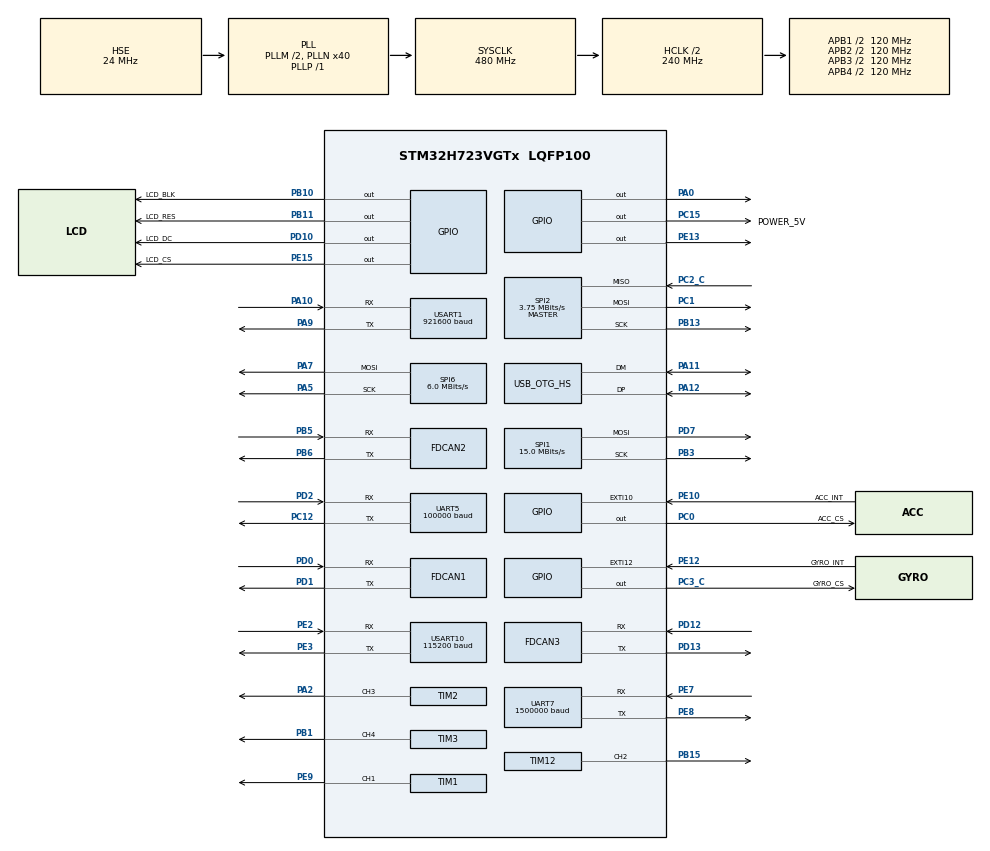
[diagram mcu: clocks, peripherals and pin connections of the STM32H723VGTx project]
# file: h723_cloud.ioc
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CORTEX_M7.default_mode_Activation=0
Dma.Request0=SPI2_RX
Dma.Request1=SPI2_TX
Dma.Request2=UART5_RX
Dma.Request3=USART10_TX
Dma.Request4=USART1_RX
Dma.Request5=UART7_RX
Dma.Request6=USART1_TX
Dma.SPI2_RX.0.Direction=DMA_PERIPH_TO_MEMORY
Dma.SPI2_RX.0.EventEnable=DISABLE
Dma.SPI2_RX.0.FIFOMode=DMA_FIFOMODE_DISABLE
Dma.SPI2_RX.0.Instance=DMA1_Stream2
Dma.SPI2_RX.0.MemDataAlignment=DMA_MDATAALIGN_BYTE
Dma.SPI2_RX.0.MemInc=DMA_MINC_ENABLE
Dma.SPI2_RX.0.Mode=DMA_NORMAL
Dma.SPI2_RX.0.PeriphDataAlignment=DMA_PDATAALIGN_BYTE
Dma.SPI2_RX.0.PeriphInc=DMA_PINC_DISABLE
Dma.SPI2_RX.0.Polarity=HAL_DMAMUX_REQ_GEN_RISING
Dma.SPI2_RX.0.Priority=DMA_PRIORITY_VERY_HIGH
Dma.SPI2_RX.0.RequestNumber=1
Dma.SPI2_RX.0.SignalID=NONE
Dma.SPI2_RX.0.SyncEnable=DISABLE
Dma.SPI2_RX.0.SyncPolarity=HAL_DMAMUX_SYNC_NO_EVENT
Dma.SPI2_RX.0.SyncRequestNumber=1
Dma.SPI2_RX.0.SyncSignalID=NONE
Dma.SPI2_TX.1.Direction=DMA_MEMORY_TO_PERIPH
Dma.SPI2_TX.1.EventEnable=DISABLE
Dma.SPI2_TX.1.FIFOMode=DMA_FIFOMODE_DISABLE
Dma.SPI2_TX.1.Instance=DMA1_Stream0
Dma.SPI2_TX.1.MemDataAlignment=DMA_MDATAALIGN_BYTE
Dma.SPI2_TX.1.MemInc=DMA_MINC_ENABLE
Dma.SPI2_TX.1.Mode=DMA_NORMAL
Dma.SPI2_TX.1.PeriphDataAlignment=DMA_PDATAALIGN_BYTE
Dma.SPI2_TX.1.PeriphInc=DMA_PINC_DISABLE
Dma.SPI2_TX.1.Polarity=HAL_DMAMUX_REQ_GEN_RISING
Dma.SPI2_TX.1.Priority=DMA_PRIORITY_HIGH
Dma.SPI2_TX.1.RequestNumber=1
Dma.SPI2_TX.1.SignalID=NONE
Dma.SPI2_TX.1.SyncEnable=DISABLE
Dma.SPI2_TX.1.SyncPolarity=HAL_DMAMUX_SYNC_NO_EVENT
Dma.SPI2_TX.1.SyncRequestNumber=1
Dma.SPI2_TX.1.SyncSignalID=NONE
Dma.UART5_RX.2.Direction=DMA_PERIPH_TO_MEMORY
Dma.UART5_RX.2.EventEnable=DISABLE
Dma.UART5_RX.2.FIFOMode=DMA_FIFOMODE_DISABLE
Dma.UART5_RX.2.Instance=DMA1_Stream1
Dma.UART5_RX.2.MemDataAlignment=DMA_MDATAALIGN_BYTE
Dma.UART5_RX.2.MemInc=DMA_MINC_ENABLE
Dma.UART5_RX.2.Mode=DMA_CIRCULAR
Dma.UART5_RX.2.PeriphDataAlignment=DMA_PDATAALIGN_BYTE
Dma.UART5_RX.2.PeriphInc=DMA_PINC_DISABLE
Dma.UART5_RX.2.Polarity=HAL_DMAMUX_REQ_GEN_RISING
Dma.UART5_RX.2.Priority=DMA_PRIORITY_VERY_HIGH
Dma.UART5_RX.2.RequestNumber=1
Dma.UART5_RX.2.SignalID=NONE
Dma.UART5_RX.2.SyncEnable=DISABLE
Dma.UART5_RX.2.SyncPolarity=HAL_DMAMUX_SYNC_NO_EVENT
Dma.UART5_RX.2.SyncRequestNumber=1
Dma.UART5_RX.2.SyncSignalID=NONE
Dma.UART7_RX.5.Direction=DMA_PERIPH_TO_MEMORY
Dma.UART7_RX.5.EventEnable=DISABLE
Dma.UART7_RX.5.FIFOMode=DMA_FIFOMODE_DISABLE
Dma.UART7_RX.5.Instance=DMA1_Stream5
Dma.UART7_RX.5.MemDataAlignment=DMA_MDATAALIGN_BYTE
Dma.UART7_RX.5.MemInc=DMA_MINC_ENABLE
Dma.UART7_RX.5.Mode=DMA_CIRCULAR
Dma.UART7_RX.5.PeriphDataAlignment=DMA_PDATAALIGN_BYTE
Dma.UART7_RX.5.PeriphInc=DMA_PINC_DISABLE
Dma.UART7_RX.5.Polarity=HAL_DMAMUX_REQ_GEN_RISING
Dma.UART7_RX.5.Priority=DMA_PRIORITY_VERY_HIGH
Dma.UART7_RX.5.RequestNumber=1
Dma.UART7_RX.5.SignalID=NONE
Dma.UART7_RX.5.SyncEnable=DISABLE
Dma.UART7_RX.5.SyncPolarity=HAL_DMAMUX_SYNC_NO_EVENT
Dma.UART7_RX.5.SyncRequestNumber=1
Dma.UART7_RX.5.SyncSignalID=NONE
Dma.USART10_TX.3.Direction=DMA_MEMORY_TO_PERIPH
Dma.USART10_TX.3.EventEnable=DISABLE
Dma.USART10_TX.3.FIFOMode=DMA_FIFOMODE_DISABLE
Dma.USART10_TX.3.Instance=DMA1_Stream3
Dma.USART10_TX.3.MemDataAlignment=DMA_MDATAALIGN_BYTE
Dma.USART10_TX.3.MemInc=DMA_MINC_ENABLE
Dma.USART10_TX.3.Mode=DMA_NORMAL
Dma.USART10_TX.3.PeriphDataAlignment=DMA_PDATAALIGN_BYTE
Dma.USART10_TX.3.PeriphInc=DMA_PINC_DISABLE
Dma.USART10_TX.3.Polarity=HAL_DMAMUX_REQ_GEN_RISING
Dma.USART10_TX.3.Priority=DMA_PRIORITY_LOW
Dma.USART10_TX.3.RequestNumber=1
Dma.USART10_TX.3.SignalID=NONE
Dma.USART10_TX.3.SyncEnable=DISABLE
Dma.USART10_TX.3.SyncPolarity=HAL_DMAMUX_SYNC_NO_EVENT
Dma.USART10_TX.3.SyncRequestNumber=1
Dma.USART10_TX.3.SyncSignalID=NONE
Dma.USART1_RX.4.Direction=DMA_PERIPH_TO_MEMORY
Dma.USART1_RX.4.EventEnable=DISABLE
Dma.USART1_RX.4.FIFOMode=DMA_FIFOMODE_DISABLE
Dma.USART1_RX.4.Instance=DMA1_Stream4
Dma.USART1_RX.4.MemDataAlignment=DMA_MDATAALIGN_BYTE
Dma.USART1_RX.4.MemInc=DMA_MINC_ENABLE
Dma.USART1_RX.4.Mode=DMA_CIRCULAR
Dma.USART1_RX.4.PeriphDataAlignment=DMA_PDATAALIGN_BYTE
Dma.USART1_RX.4.PeriphInc=DMA_PINC_DISABLE
Dma.USART1_RX.4.Polarity=HAL_DMAMUX_REQ_GEN_RISING
Dma.USART1_RX.4.Priority=DMA_PRIORITY_VERY_HIGH
Dma.USART1_RX.4.RequestNumber=1
Dma.USART1_RX.4.SignalID=NONE
Dma.USART1_RX.4.SyncEnable=DISABLE
Dma.USART1_RX.4.SyncPolarity=HAL_DMAMUX_SYNC_NO_EVENT
Dma.USART1_RX.4.SyncRequestNumber=1
Dma.USART1_RX.4.SyncSignalID=NONE
Dma.USART1_TX.6.Direction=DMA_MEMORY_TO_PERIPH
Dma.USART1_TX.6.EventEnable=DISABLE
Dma.USART1_TX.6.FIFOMode=DMA_FIFOMODE_DISABLE
Dma.USART1_TX.6.Instance=DMA1_Stream6
Dma.USART1_TX.6.MemDataAlignment=DMA_MDATAALIGN_BYTE
Dma.USART1_TX.6.MemInc=DMA_MINC_ENABLE
Dma.USART1_TX.6.Mode=DMA_NORMAL
Dma.USART1_TX.6.PeriphDataAlignment=DMA_PDATAALIGN_BYTE
Dma.USART1_TX.6.PeriphInc=DMA_PINC_DISABLE
Dma.USART1_TX.6.Polarity=HAL_DMAMUX_REQ_GEN_RISING
Dma.USART1_TX.6.Priority=DMA_PRIORITY_MEDIUM
Dma.USART1_TX.6.RequestNumber=1
Dma.USART1_TX.6.SignalID=NONE
Dma.USART1_TX.6.SyncEnable=DISABLE
Dma.USART1_TX.6.SyncPolarity=HAL_DMAMUX_SYNC_NO_EVENT
Dma.USART1_TX.6.SyncRequestNumber=1
Dma.USART1_TX.6.SyncSignalID=NONE
FDCAN1.AutoRetransmission=ENABLE
FDCAN1.CalculateBaudRateNominal=999999
FDCAN1.CalculateTimeBitNominal=1000
FDCAN1.CalculateTimeQuantumNominal=83.33333333333334
FDCAN1.NominalPrescaler=10
FDCAN1.NominalTimeSeg1=8
FDCAN1.NominalTimeSeg2=3
FDCAN1.RxFifo0ElmtsNbr=32
FDCAN1.StdFiltersNbr=1
FDCAN1.TxFifoQueueElmtsNbr=32
FDCAN1.TxFifoQueueMode=FDCAN_TX_FIFO_OPERATION
FDCAN2.CalculateBaudRateNominal=999999
FDCAN2.CalculateTimeBitNominal=1000
FDCAN2.CalculateTimeQuantumNominal=83.33333333333334
FDCAN2.MessageRAMOffset=1024
FDCAN2.NominalPrescaler=10
FDCAN2.NominalTimeSeg1=8
FDCAN2.NominalTimeSeg2=3
FDCAN2.RxFifo0ElmtsNbr=32
FDCAN2.StdFiltersNbr=1
FDCAN2.TxFifoQueueElmtsNbr=32
FDCAN3.CalculateBaudRateNominal=999999
FDCAN3.CalculateTimeBitNominal=1000
FDCAN3.CalculateTimeQuantumNominal=83.33333333333334
FDCAN3.MessageRAMOffset=2048
FDCAN3.NominalPrescaler=10
FDCAN3.NominalTimeSeg1=8
FDCAN3.NominalTimeSeg2=3
FDCAN3.RxFifo0ElmtsNbr=32
FDCAN3.StdFiltersNbr=1
FDCAN3.TxFifoQueueElmtsNbr=32
FREERTOS.BinarySemaphores01=imuBinarySem01,Static,imuBinarySemControlBlock
FREERTOS.INCLUDE_eTaskGetState=1
FREERTOS.INCLUDE_pcTaskGetTaskName=1
FREERTOS.INCLUDE_uxTaskGetStackHighWaterMark=1
FREERTOS.INCLUDE_uxTaskGetStackHighWaterMark2=0
FREERTOS.INCLUDE_vTaskCleanUpResources=1
FREERTOS.INCLUDE_vTaskDelayUntil=1
FREERTOS.INCLUDE_xEventGroupSetBitFromISR=1
FREERTOS.INCLUDE_xQueueGetMutexHolder=1
FREERTOS.INCLUDE_xSemaphoreGetMutexHolder=1
FREERTOS.INCLUDE_xTaskAbortDelay=1
FREERTOS.INCLUDE_xTaskGetCurrentTaskHandle=1
FREERTOS.INCLUDE_xTaskGetHandle=1
FREERTOS.INCLUDE_xTimerPendFunctionCall=1
FREERTOS.MEMORY_ALLOCATION=2
FREERTOS.Queues01=rcQueue,1,36,1,Dynamic,NULL,NULL;canRxQueue,20,12,1,Dynamic,NULL,NULL
FREERTOS.Tasks01=All_Init,47,256,All_Init_Run,Default,NULL,Dynamic,NULL,NULL;INSTask,48,1024,IMU_task,As external,NULL,Static,IMU_Buffer,IMUControlBlock;CanDecodeTask,32,512,Can_Decode_Task,As external,NULL,Dynamic,NULL,NULL;rcTask,16,256,RC_Task,As weak,NULL,Dynamic,NULL,NULL
FREERTOS.configTOTAL_HEAP_SIZE=49152
FREERTOS.configUSE_TIMERS=1
Mcu.Family=STM32H7
Mcu.Name=STM32H723VGTx
Mcu.Package=LQFP100
NVIC.DMA1_Stream0_IRQn=true\:5\:0\:true\:false\:true\:true\:false\:true\:true
NVIC.DMA1_Stream1_IRQn=true\:5\:0\:true\:false\:true\:true\:false\:true\:true
NVIC.DMA1_Stream2_IRQn=true\:5\:0\:false\:false\:true\:true\:false\:true\:true
NVIC.DMA1_Stream3_IRQn=true\:15\:0\:true\:false\:true\:true\:false\:true\:true
NVIC.DMA1_Stream4_IRQn=true\:5\:0\:false\:false\:true\:true\:false\:true\:true
NVIC.DMA1_Stream5_IRQn=true\:5\:0\:false\:false\:true\:true\:false\:true\:true
NVIC.DMA1_Stream6_IRQn=true\:5\:0\:false\:false\:true\:true\:false\:true\:true
NVIC.EXTI15_10_IRQn=true\:6\:0\:true\:false\:true\:true\:true\:true\:true
NVIC.FDCAN1_IT0_IRQn=true\:5\:0\:true\:false\:true\:true\:true\:true\:true
NVIC.FDCAN2_IT0_IRQn=true\:5\:0\:true\:false\:true\:true\:true\:true\:true
NVIC.FDCAN3_IT0_IRQn=true\:5\:0\:true\:false\:true\:true\:true\:true\:true
NVIC.OTG_HS_IRQn=true\:5\:0\:true\:false\:true\:true\:true\:true\:true
NVIC.PriorityGroup=NVIC_PRIORITYGROUP_4
NVIC.SPI2_IRQn=true\:5\:0\:false\:false\:true\:true\:false\:true\:true
NVIC.TIM6_DAC_IRQn=true\:15\:0\:false\:false\:true\:false\:false\:true\:true
NVIC.TimeBase=TIM6_DAC_IRQn
NVIC.TimeBaseIP=TIM6
NVIC.UART5_IRQn=true\:5\:0\:false\:false\:true\:true\:true\:true\:true
NVIC.USART10_IRQn=true\:15\:0\:true\:false\:true\:true\:true\:true\:true
NVIC.USART1_IRQn=true\:5\:0\:false\:false\:true\:true\:true\:true\:true
PA0.GPIO_Speed=GPIO_SPEED_FREQ_VERY_HIGH
PA0.Signal=GPIO_Output
PA10.GPIO_Speed=GPIO_SPEED_FREQ_VERY_HIGH
PA10.Mode=Asynchronous
PA10.Signal=USART1_RX
PA11.Mode=Device_Only_FS
PA11.Signal=USB_OTG_HS_DM
PA12.Mode=Device_Only_FS
PA12.Signal=USB_OTG_HS_DP
PA13(JTMS/SWDIO).Mode=Serial_Wire
PA13(JTMS/SWDIO).Signal=DEBUG_JTMS-SWDIO
PA14(JTCK/SWCLK).Mode=Serial_Wire
PA14(JTCK/SWCLK).Signal=DEBUG_JTCK-SWCLK
PA2.GPIO_Speed=GPIO_SPEED_FREQ_VERY_HIGH
PA2.Signal=S_TIM2_CH3
PA5.Mode=TX_Only_Simplex_Unidirect_Master
PA5.Signal=SPI6_SCK
PA7.Mode=TX_Only_Simplex_Unidirect_Master
PA7.Signal=SPI6_MOSI
PA9.GPIO_Speed=GPIO_SPEED_FREQ_VERY_HIGH
PA9.Mode=Asynchronous
PA9.Signal=USART1_TX
PB1.Signal=S_TIM3_CH4
PB10.GPIO_Label=LCD_BLK
PB10.Signal=GPIO_Output
PB11.GPIO_Label=LCD_RES
PB11.Signal=GPIO_Output
PB13.GPIO_Speed=GPIO_SPEED_FREQ_VERY_HIGH
PB13.Mode=Full_Duplex_Master
PB13.Signal=SPI2_SCK
PB15.Signal=S_TIM12_CH2
PB3(JTDO/TRACESWO).Mode=TX_Only_Simplex_Unidirect_Master
PB3(JTDO/TRACESWO).Signal=SPI1_SCK
PB5.GPIO_Speed=GPIO_SPEED_FREQ_VERY_HIGH
PB5.Mode=FDCAN_Activate
PB5.Signal=FDCAN2_RX
PB6.GPIO_Speed=GPIO_SPEED_FREQ_VERY_HIGH
PB6.Mode=FDCAN_Activate
PB6.Signal=FDCAN2_TX
PC0.GPIO_Label=ACC_CS
PC0.GPIO_Speed=GPIO_SPEED_FREQ_VERY_HIGH
PC0.PinState=GPIO_PIN_SET
PC0.Signal=GPIO_Output
PC1.GPIO_Speed=GPIO_SPEED_FREQ_VERY_HIGH
PC1.Mode=Full_Duplex_Master
PC1.Signal=SPI2_MOSI
PC12.Mode=Asynchronous
PC12.Signal=UART5_TX
PC15-OSC32_OUT.GPIO_Label=POWER_5V
PC15-OSC32_OUT.PinState=GPIO_PIN_SET
PC15-OSC32_OUT.Signal=GPIO_Output
PC2_C.GPIO_Speed=GPIO_SPEED_FREQ_VERY_HIGH
PC2_C.Mode=Full_Duplex_Master
PC2_C.Signal=SPI2_MISO
PC3_C.GPIO_Label=GYRO_CS
PC3_C.GPIO_Speed=GPIO_SPEED_FREQ_VERY_HIGH
PC3_C.PinState=GPIO_PIN_SET
PC3_C.Signal=GPIO_Output
PD0.GPIO_Speed=GPIO_SPEED_FREQ_VERY_HIGH
PD0.Mode=FDCAN_Activate
PD0.Signal=FDCAN1_RX
PD1.GPIO_Speed=GPIO_SPEED_FREQ_VERY_HIGH
PD1.Mode=FDCAN_Activate
PD1.Signal=FDCAN1_TX
PD10.GPIO_Label=LCD_DC
PD10.Signal=GPIO_Output
PD12.GPIO_Speed=GPIO_SPEED_FREQ_VERY_HIGH
PD12.Mode=FDCAN_Activate
PD12.Signal=FDCAN3_RX
PD13.GPIO_Speed=GPIO_SPEED_FREQ_VERY_HIGH
PD13.Mode=FDCAN_Activate
PD13.Signal=FDCAN3_TX
PD2.Mode=Asynchronous
PD2.Signal=UART5_RX
PD7.Mode=TX_Only_Simplex_Unidirect_Master
PD7.Signal=SPI1_MOSI
PE10.GPIO_Label=ACC_INT
PE10.Signal=GPXTI10
PE12.GPIO_Label=GYRO_INT
PE12.Signal=GPXTI12
PE13.GPIO_PuPd=GPIO_PULLUP
PE13.Signal=GPIO_Output
PE15.GPIO_Label=LCD_CS
PE15.Signal=GPIO_Output
PE2.GPIO_Speed=GPIO_SPEED_FREQ_VERY_HIGH
PE2.Mode=Asynchronous
PE2.Signal=USART10_RX
PE3.GPIO_Speed=GPIO_SPEED_FREQ_VERY_HIGH
PE3.Mode=Asynchronous
PE3.Signal=USART10_TX
PE7.GPIO_Speed=GPIO_SPEED_FREQ_VERY_HIGH
PE7.Mode=Asynchronous
PE7.Signal=UART7_RX
PE8.GPIO_Speed=GPIO_SPEED_FREQ_VERY_HIGH
PE8.Mode=Asynchronous
PE8.Signal=UART7_TX
PE9.GPIO_Speed=GPIO_SPEED_FREQ_VERY_HIGH
PE9.Signal=S_TIM1_CH1
PH0-OSC_IN.Mode=HSE-External-Oscillator
PH0-OSC_IN.Signal=RCC_OSC_IN
PH1-OSC_OUT.Mode=HSE-External-Oscillator
PH1-OSC_OUT.Signal=RCC_OSC_OUT
ProjectManager.HeapSize=0x2000
ProjectManager.StackSize=0x2000
ProjectManager.TargetToolchain=MDK-ARM V5.32
RCC.ADCFreq_Value=48375000
RCC.APB1Freq_Value=120000000
RCC.APB2Freq_Value=120000000
RCC.APB3Freq_Value=120000000
RCC.APB4Freq_Value=120000000
RCC.CortexFreq_Value=480000000
RCC.D1PPRE=RCC_APB3_DIV2
RCC.D2PPRE1=RCC_APB1_DIV2
RCC.D2PPRE2=RCC_APB2_DIV2
RCC.D3PPRE=RCC_APB4_DIV2
RCC.DIVM1=2
RCC.DIVN1=40
RCC.DIVP1=1
RCC.DIVQ1=4
RCC.HCLKFreq_Value=240000000
RCC.HPRE=RCC_HCLK_DIV2
RCC.HSE_VALUE=24000000
RCC.PLLSourceVirtual=RCC_PLLSOURCE_HSE
RCC.SPI6CLockSelection=RCC_SPI6CLKSOURCE_HSE
RCC.SYSCLKFreq_VALUE=480000000
RCC.SYSCLKSource=RCC_SYSCLKSOURCE_PLLCLK
RCC.USBCLockSelection=RCC_USBCLKSOURCE_HSI48
RCC.USBFreq_Value=48000000
SH.S_TIM12_CH2.0=TIM12_CH2,PWM Generation2 CH2
SH.S_TIM1_CH1.0=TIM1_CH1,PWM Generation1 CH1
SH.S_TIM2_CH3.0=TIM2_CH3,PWM Generation3 CH3
SH.S_TIM3_CH4.0=TIM3_CH4,PWM Generation4 CH4
SPI1.BaudRatePrescaler=SPI_BAUDRATEPRESCALER_8
SPI1.CLKPolarity=SPI_POLARITY_HIGH
SPI1.CalculateBaudRate=15.0 MBits/s
SPI1.DataSize=SPI_DATASIZE_8BIT
SPI1.Direction=SPI_DIRECTION_2LINES_TXONLY
SPI1.Mode=SPI_MODE_MASTER
SPI1.VirtualType=VM_MASTER
SPI2.BaudRatePrescaler=SPI_BAUDRATEPRESCALER_32
SPI2.CLKPhase=SPI_PHASE_2EDGE
SPI2.CLKPolarity=SPI_POLARITY_HIGH
SPI2.CalculateBaudRate=3.75 MBits/s
SPI2.DataSize=SPI_DATASIZE_8BIT
SPI2.Direction=SPI_DIRECTION_2LINES
SPI2.Mode=SPI_MODE_MASTER
SPI2.VirtualType=VM_MASTER
SPI6.BaudRatePrescaler=SPI_BAUDRATEPRESCALER_4
SPI6.CLKPhase=SPI_PHASE_2EDGE
SPI6.CalculateBaudRate=6.0 MBits/s
SPI6.DataSize=SPI_DATASIZE_8BIT
SPI6.Direction=SPI_DIRECTION_2LINES_TXONLY
SPI6.Mode=SPI_MODE_MASTER
SPI6.VirtualType=VM_MASTER
TIM1.AutoReloadPreload=TIM_AUTORELOAD_PRELOAD_ENABLE
TIM1.AutomaticOutput=TIM_AUTOMATICOUTPUT_ENABLE
TIM1.Channel-PWM\ Generation1\ CH1=TIM_CHANNEL_1
TIM1.Period=20000-1
TIM1.Prescaler=240-1
TIM1.Pulse-PWM\ Generation1\ CH1=0
TIM12.Channel-PWM\ Generation2\ CH2=TIM_CHANNEL_2
TIM12.Period=2000-1
TIM12.Prescaler=48-1
TIM2.AutoReloadPreload=TIM_AUTORELOAD_PRELOAD_ENABLE
TIM2.Channel-PWM\ Generation3\ CH3=TIM_CHANNEL_3
TIM2.Period=20000-1
TIM2.Prescaler=240-1
TIM2.Pulse-PWM\ Generation3\ CH3=0
TIM3.AutoReloadPreload=TIM_AUTORELOAD_PRELOAD_ENABLE
TIM3.Channel-PWM\ Generation4\ CH4=TIM_CHANNEL_4
TIM3.Period=10000-1
TIM3.Prescaler=24-1
UART5.BaudRate=100000
UART5.Parity=PARITY_EVEN
UART5.StopBits=UART_STOPBITS_2
UART5.WordLength=WORDLENGTH_9B
UART7.BaudRate=1500000
USART1.BaudRate=921600
USART1.VirtualMode-Asynchronous=VM_ASYNC
USART10.BaudRate=115200
USART10.VirtualMode=VM_ASYNC
USB_DEVICE.CLASS_NAME_HS=CDC
USB_DEVICE.VirtualMode=Cdc
USB_DEVICE.VirtualModeHS=Cdc_HS
USB_OTG_HS.VirtualMode-Device_Only_FS=Device_Only_FS
VP_FREERTOS_VS_CMSIS_V2.Mode=CMSIS_V2
VP_RCC_USB.Mode=USB_HS
VP_SYS_VS_tim6.Mode=TIM6
VP_TIM1_VS_ClockSourceINT.Mode=Internal
VP_TIM2_VS_ClockSourceINT.Mode=Internal
VP_USB_DEVICE_VS_USB_DEVICE_CDC_HS.Mode=CDC_HS
board=custom

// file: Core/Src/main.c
/* USER CODE BEGIN Header */
/**
  ******************************************************************************
  * @file           : main.c
  * @brief          : Main program body
  ******************************************************************************
  * @attention
  *
  * Copyright (c) 2024 STMicroelectronics.
  * All rights reserved.
  *
  * This software is licensed under terms that can be found in the LICENSE file
  * in the root directory of this software component.
  * If no LICENSE file comes with this software, it is provided AS-IS.
  *
  ******************************************************************************
  */
/* USER CODE END Header */
#include "main.h"
#include "cmsis_os.h"
#include "dma.h"
#include "fdcan.h"
#include "spi.h"
#include "tim.h"
#include "usart.h"
#include "usb_device.h"
#include "gpio.h"

/* USER CODE BEGIN Includes */
#include "bsp_dwt.h"

/* USER CODE END Includes */

void SystemClock_Config(void);
void MX_FREERTOS_Init(void);

int main(void)
{
  /* USER CODE BEGIN 1 */
    SCB_EnableICache();
    SCB_EnableDCache();
  /* USER CODE END 1 */

  /* MCU Configuration--------------------------------------------------------*/

  /* Reset of all peripherals, Initializes the Flash interface and the Systick. */
  HAL_Init();

  /* Configure the system clock */
  SystemClock_Config();

  /* Initialize all configured peripherals */
  MX_GPIO_Init();
  MX_DMA_Init();
  MX_FDCAN2_Init();
  MX_FDCAN3_Init();
  MX_SPI2_Init();
  MX_FDCAN1_Init();
  MX_TIM3_Init();
  MX_TIM12_Init();
  MX_SPI1_Init();
  MX_UART5_Init();
  MX_USART10_UART_Init();
  MX_SPI6_Init();
  MX_USART1_UART_Init();
  MX_TIM2_Init();
  MX_TIM1_Init();
  MX_UART7_Init();
  /* USER CODE BEGIN 2 */

	DWT_Init();

  /* USER CODE END 2 */

  /* Init scheduler */
  osKernelInitialize();  /* Call init function for freertos objects (in freertos.c) */
  MX_FREERTOS_Init();

  /* Start scheduler */
  osKernelStart();
  /* We should never get here as control is now taken by the scheduler */
  /* Infinite loop */
  while (1)
  {

  }
}

void SystemClock_Config(void)
{
  RCC_OscInitTypeDef RCC_OscInitStruct = {0};
  RCC_ClkInitTypeDef RCC_ClkInitStruct = {0};
  RCC_CRSInitTypeDef RCC_CRSInitStruct = {0};

  /** Supply configuration update enable
  */
  HAL_PWREx_ConfigSupply(PWR_LDO_SUPPLY);

  /** Configure the main internal regulator output voltage
  */
  __HAL_PWR_VOLTAGESCALING_CONFIG(PWR_REGULATOR_VOLTAGE_SCALE0);

  while(!__HAL_PWR_GET_FLAG(PWR_FLAG_VOSRDY)) {}

  /** Initializes the RCC Oscillators according to the specified parameters
  * in the RCC_OscInitTypeDef structure.
  */
  RCC_OscInitStruct.OscillatorType = RCC_OSCILLATORTYPE_HSI48|RCC_OSCILLATORTYPE_HSE;
  RCC_OscInitStruct.HSEState = RCC_HSE_ON;
  RCC_OscInitStruct.HSI48State = RCC_HSI48_ON;
  RCC_OscInitStruct.PLL.PLLState = RCC_PLL_ON;
  RCC_OscInitStruct.PLL.PLLSource = RCC_PLLSOURCE_HSE;
  RCC_OscInitStruct.PLL.PLLM = 2;
  RCC_OscInitStruct.PLL.PLLN = 40;
  RCC_OscInitStruct.PLL.PLLP = 1;
  RCC_OscInitStruct.PLL.PLLQ = 4;
  RCC_OscInitStruct.PLL.PLLR = 2;
  RCC_OscInitStruct.PLL.PLLRGE = RCC_PLL1VCIRANGE_3;
  RCC_OscInitStruct.PLL.PLLVCOSEL = RCC_PLL1VCOWIDE;
  RCC_OscInitStruct.PLL.PLLFRACN = 0;
  if (HAL_RCC_OscConfig(&RCC_OscInitStruct) != HAL_OK)
  {
    Error_Handler();
  }

  /** Initializes the CPU, AHB and APB buses clocks
  */
  RCC_ClkInitStruct.ClockType = RCC_CLOCKTYPE_HCLK|RCC_CLOCKTYPE_SYSCLK
                              |RCC_CLOCKTYPE_PCLK1|RCC_CLOCKTYPE_PCLK2
                              |RCC_CLOCKTYPE_D3PCLK1|RCC_CLOCKTYPE_D1PCLK1;
  RCC_ClkInitStruct.SYSCLKSource = RCC_SYSCLKSOURCE_PLLCLK;
  RCC_ClkInitStruct.SYSCLKDivider = RCC_SYSCLK_DIV1;
  RCC_ClkInitStruct.AHBCLKDivider = RCC_HCLK_DIV2;
  RCC_ClkInitStruct.APB3CLKDivider = RCC_APB3_DIV2;
  RCC_ClkInitStruct.APB1CLKDivider = RCC_APB1_DIV2;
  RCC_ClkInitStruct.APB2CLKDivider = RCC_APB2_DIV2;
  RCC_ClkInitStruct.APB4CLKDivider = RCC_APB4_DIV2;

  if (HAL_RCC_ClockConfig(&RCC_ClkInitStruct, FLASH_LATENCY_3) != HAL_OK)
  {
    Error_Handler();
  }

  /** Enable the SYSCFG APB clock
  */
  __HAL_RCC_CRS_CLK_ENABLE();

  /** Configures CRS
  */
  RCC_CRSInitStruct.Prescaler = RCC_CRS_SYNC_DIV1;
  RCC_CRSInitStruct.Source = RCC_CRS_SYNC_SOURCE_USB2;
  RCC_CRSInitStruct.Polarity = RCC_CRS_SYNC_POLARITY_RISING;
  RCC_CRSInitStruct.ReloadValue = __HAL_RCC_CRS_RELOADVALUE_CALCULATE(48000000,1000);
  RCC_CRSInitStruct.ErrorLimitValue = 34;
  RCC_CRSInitStruct.HSI48CalibrationValue = 32;

  HAL_RCCEx_CRSConfig(&RCC_CRSInitStruct);
}

void HAL_TIM_PeriodElapsedCallback(TIM_HandleTypeDef *htim)
{
  if (htim->Instance == TIM6) {
    HAL_IncTick();
  }
}

void Error_Handler(void)
{
  __disable_irq();
  while (1)
  {
  }
}

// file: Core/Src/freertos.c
/* USER CODE BEGIN Header */
/**
  ******************************************************************************
  * File Name          : freertos.c
  * Description        : Code for freertos applications
  ******************************************************************************
  * @attention
  *
  * Copyright (c) 2025 STMicroelectronics.
  * All rights reserved.
  *
  * This software is licensed under terms that can be found in the LICENSE file
  * in the root directory of this software component.
  * If no LICENSE file comes with this software, it is provided AS-IS.
  *
  ******************************************************************************
  */
/* USER CODE END Header */

#include "FreeRTOS.h"
#include "task.h"
#include "main.h"
#include "cmsis_os.h"

/* USER CODE BEGIN Includes */
#include "cmsis_os2.h"
#include "INS_task.h"
#include "bsp_DR16.h"
#include "bsp_buzzer.h"
#include "arm_task.h"

//#include "math.h"

/* USER CODE END Includes */

typedef StaticTask_t osStaticThreadDef_t;
/* USER CODE BEGIN PTD */
//RC_ctrl_t *rc;
/* USER CODE END PTD */

/* Definitions for All_Init */
osThreadId_t All_InitHandle;
const osThreadAttr_t All_Init_attributes = {
  .name = "All_Init",
  .stack_size = 256 * 4,
  .priority = (osPriority_t) osPriorityHigh7,
};
/* Definitions for INSTask */
osThreadId_t INSTaskHandle;
uint32_t IMU_Buffer[ 1024 ];
osStaticThreadDef_t IMUControlBlock;
const osThreadAttr_t INSTask_attributes = {
  .name = "INSTask",
  .cb_mem = &IMUControlBlock,
  .cb_size = sizeof(IMUControlBlock),
  .stack_mem = &IMU_Buffer[0],
  .stack_size = sizeof(IMU_Buffer),
  .priority = (osPriority_t) osPriorityRealtime,
};
/* Definitions for CanDecodeTask */
osThreadId_t CanDecodeTaskHandle;
const osThreadAttr_t CanDecodeTask_attributes = {
  .name = "CanDecodeTask",
  .stack_size = 512 * 4,
  .priority = (osPriority_t) osPriorityAboveNormal,
};
/* Definitions for ArmTask */
osThreadId_t ArmTaskHandle;
const osThreadAttr_t ArmTask_attributes = {
  .name = "ArmTask",
  .stack_size = 1024 * 4,
  .priority = (osPriority_t) osPriorityNormal,
};
/* Definitions for rcTask */
osThreadId_t rcTaskHandle;
const osThreadAttr_t rcTask_attributes = {
  .name = "rcTask",
  .stack_size = 256 * 4,
  .priority = (osPriority_t) osPriorityBelowNormal,
};
/* Definitions for rcQueue */
osMessageQueueId_t rcQueueHandle;
const osMessageQueueAttr_t rcQueue_attributes = {
  .name = "rcQueue"
};
/* Definitions for canRxQueue */
osMessageQueueId_t canRxQueueHandle;
const osMessageQueueAttr_t canRxQueue_attributes = {
  .name = "canRxQueue"
};
/* Definitions for imuBinarySem01 */
osSemaphoreId_t imuBinarySem01Handle;
const osSemaphoreAttr_t imuBinarySem01_attributes = {
  .name = "imuBinarySem01"
};

void All_Init_Run(void *argument);
extern void IMU_task(void *argument);
extern void Can_Decode_Task(void *argument);
extern void Arm_Task(void *argument);
void RC_Task(void *argument);

extern void MX_USB_DEVICE_Init(void);
void MX_FREERTOS_Init(void); /* (MISRA C 2004 rule 8.1) */

void MX_FREERTOS_Init(void) {

  /* Create the semaphores(s) */
  /* creation of imuBinarySem01 */
  imuBinarySem01Handle = osSemaphoreNew(1, 1, &imuBinarySem01_attributes);

  /* Create the queue(s) */
  /* creation of rcQueue */
  rcQueueHandle = osMessageQueueNew (1, 36, &rcQueue_attributes);

  /* creation of canRxQueue */
  canRxQueueHandle = osMessageQueueNew (20, sizeof(CAN_Rx_Message_t), &canRxQueue_attributes);

  /* Create the thread(s) */
  /* creation of All_Init */
  All_InitHandle = osThreadNew(All_Init_Run, NULL, &All_Init_attributes);

  /* creation of INSTask */
  INSTaskHandle = osThreadNew(IMU_task, NULL, &INSTask_attributes);

  /* creation of CanDecodeTask */
  CanDecodeTaskHandle = osThreadNew(Can_Decode_Task, NULL, &CanDecodeTask_attributes);

  /* creation of rcTask */
  rcTaskHandle = osThreadNew(RC_Task, NULL, &rcTask_attributes);

  /* creation of ArmTask */
  ArmTaskHandle = osThreadNew(Arm_Task, NULL, &ArmTask_attributes);

}

void All_Init_Run(void *argument)
{
  /* init code for USB_DEVICE */
  MX_USB_DEVICE_Init();
  /* USER CODE BEGIN All_Init_Run */

	osDelay(100);

	MX_USB_DEVICE_Init();

	taskENTER_CRITICAL();  //�����ٽ���

	BSP_FDCAN_Config();

	DR16_Init();

	taskEXIT_CRITICAL();   //�˳��ٽ���

	vTaskDelete(NULL);
  /* USER CODE END All_Init_Run */
}

__weak void RC_Task(void *argument)
{
  for(;;)
  {
    osDelay(1);
  }
}
